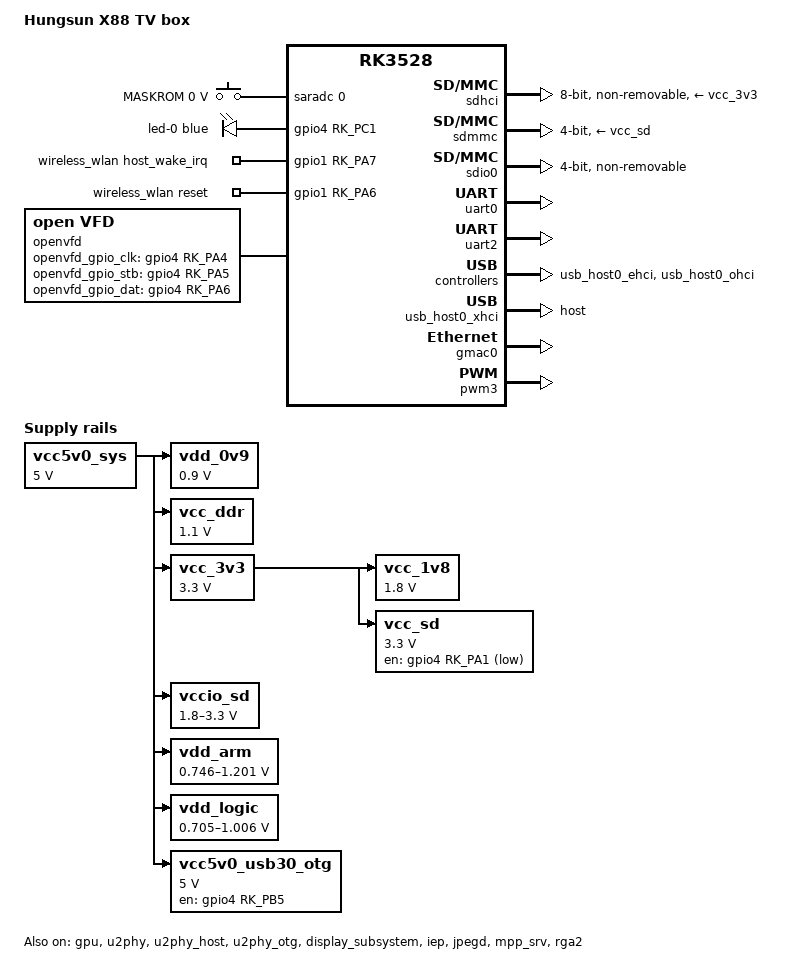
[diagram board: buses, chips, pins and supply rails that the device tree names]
// SPDX-License-Identifier: (GPL-2.0+ OR MIT)

/dts-v1/;

#include <dt-bindings/input/input.h>
#include <dt-bindings/leds/common.h>
#include <dt-bindings/pwm/pwm.h>
#include "rk3528.dtsi"

#include "rk3528-x88pro.dtsi"

/ {
	model = "Hungsun X88 TV box";
	compatible = "hungsun,x882a", "rockchip,rk3528";

	aliases {
		ethernet0 = &gmac0;
		mmc0 = &sdmmc;
		mmc1 = &sdhci;
		mmc2 = &sdio0;
		serial0 = &uart0;
	};

	chosen {
		// bootargs = "earlycon=uart8250,mmio32,0xff9f0000 console=ttyS0 driver_async_probe=dwmmc_rockchip,rockchip-drm drm_kms_helper.fbdev_emulation=0";
		stdout-path = "serial0:1500000n8";
	};

	adc-keys {
		compatible = "adc-keys";
		io-channels = <&saradc 0>;
		io-channel-names = "buttons";
		keyup-threshold-microvolt = <1800000>;
		poll-interval = <100>;

		button-maskrom {
			label = "MASKROM";
			linux,code = <KEY_SETUP>;
			press-threshold-microvolt = <0>;
		};
	};

	leds: leds {
		compatible = "gpio-leds";
		pinctrl-names = "default";
		pinctrl-0 = <&state_led_b>;

		led-0 {
			color = <LED_COLOR_ID_BLUE>;
			default-state = "on";
			function = LED_FUNCTION_HEARTBEAT;
			gpios = <&gpio4 RK_PC1 GPIO_ACTIVE_HIGH>;   // 145 pwr-green
			linux,default-trigger = "heartbeat";
		};
	};

	vdd_0v9: regulator-0v9-vdd {
		compatible = "regulator-fixed";
		regulator-name = "vdd_0v9";
		regulator-always-on;
		regulator-boot-on;
		regulator-min-microvolt = <900000>;
		regulator-max-microvolt = <900000>;
		vin-supply = <&vcc5v0_sys>;
	};

	vcc_ddr: regulator-1v1-vcc-ddr {
		compatible = "regulator-fixed";
		regulator-name = "vcc_ddr";
		regulator-always-on;
		regulator-boot-on;
		regulator-min-microvolt = <1100000>;
		regulator-max-microvolt = <1100000>;
		vin-supply = <&vcc5v0_sys>;
	};

	vcc_1v8: regulator-1v8-vcc {
		compatible = "regulator-fixed";
		regulator-name = "vcc_1v8";
		regulator-always-on;
		regulator-boot-on;
		regulator-min-microvolt = <1800000>;
		regulator-max-microvolt = <1800000>;
		vin-supply = <&vcc_3v3>;
	};

	vcc_3v3: regulator-3v3-vcc {
		compatible = "regulator-fixed";
		regulator-name = "vcc_3v3";
		regulator-always-on;
		regulator-boot-on;
		regulator-min-microvolt = <3300000>;
		regulator-max-microvolt = <3300000>;
		vin-supply = <&vcc5v0_sys>;
	};

	vcc5v0_sys: regulator-5v0-vcc-sys {
		compatible = "regulator-fixed";
		regulator-name = "vcc5v0_sys";
		regulator-always-on;
		regulator-boot-on;
		regulator-min-microvolt = <5000000>;
		regulator-max-microvolt = <5000000>;
	};

	vcc_sd: vcc-sd {
		compatible = "regulator-fixed";
		regulator-boot-on;
		gpio = <&gpio4 RK_PA1 GPIO_ACTIVE_LOW>;
		regulator-name = "vcc_sd";
		regulator-min-microvolt = <3300000>;
		regulator-max-microvolt = <3300000>;
		vin-supply = <&vcc_3v3>;
	};

	vccio_sd: regulator-vccio-sd {
		compatible = "regulator-gpio";
		gpios = <&gpio4 RK_PB6 GPIO_ACTIVE_HIGH>; // 142 vccio_sd
		pinctrl-names = "default";
		pinctrl-0 = <&sdmmc_pwren_h>;
		regulator-name = "vccio_sd";
		regulator-min-microvolt = <1800000>;  // vccio_sd=L
		regulator-max-microvolt = <3300000>;  // vccio_sd=H
		states = <1800000 0x0>, <3300000 0x1>;
		vin-supply = <&vcc5v0_sys>;
	};

	vdd_arm: regulator-vdd-arm {
		compatible = "pwm-regulator";
		pwms = <&pwm1 0 5000 PWM_POLARITY_INVERTED>;
		pwm-supply = <&vcc5v0_sys>;
		regulator-name = "vdd_arm";
		regulator-always-on;
		regulator-boot-on;
		regulator-min-microvolt = <746000>;
		regulator-max-microvolt = <1201000>;
		regulator-settling-time-up-us = <250>;
	};

	vdd_logic: regulator-vdd-logic {
		compatible = "pwm-regulator";
		pwms = <&pwm2 0 5000 PWM_POLARITY_INVERTED>;
		pwm-supply = <&vcc5v0_sys>;
		regulator-name = "vdd_logic";
		regulator-always-on;
		regulator-boot-on;
		regulator-min-microvolt = <705000>;
		regulator-max-microvolt = <1006000>;
		regulator-settling-time-up-us = <250>;
	};

	vcc5v0_usb30_otg: regulator-5v0-vcc-usb30-otg {
		compatible = "regulator-fixed";
		enable-active-high;
		regulator-boot-on;
		regulator-always-on;
		gpios = <&gpio4 RK_PB5 GPIO_ACTIVE_HIGH>;
		pinctrl-names = "default";
		pinctrl-0 = <&usb_host_en>;
		regulator-name = "vcc5v0_usb30_otg";
		regulator-min-microvolt = <5000000>;
		regulator-max-microvolt = <5000000>;
		vin-supply = <&vcc5v0_sys>;
	};

	hdmi_sound: hdmi-sound {
		status = "disabled";        // **
		compatible = "simple-audio-card";
		simple-audio-card,format = "i2s";
		simple-audio-card,mclk-fs = <128>;
		simple-audio-card,name = "rockchip-hdmi0";
		simple-audio-card,cpu {
			sound-dai = <&sai3>;
		};
		simple-audio-card,codec {
			sound-dai = <&hdmi>;
		};
	};

	acodec_sound: acodec-sound {
		compatible = "simple-audio-card";
		simple-audio-card,name = "rk3528-acodec";
		simple-audio-card,format = "i2s";
		simple-audio-card,mclk-fs = <256>;
		status = "disabled";        // **
		simple-audio-card,cpu {
			sound-dai = <&sai2>;
		};
		simple-audio-card,codec {
			sound-dai = <&acodec>;
		};
	};

	sdio_pwrseq: sdio-pwrseq {
		compatible = "mmc-pwrseq-simple";
		pinctrl-names = "default";
		pinctrl-0 = <&wifi_enable_h>, <&clkm1_32k_out>;
		post-power-on-delay-ms = <200>;
		// reset-gpios = <&gpio1 RK_PA6 GPIO_ACTIVE_LOW>;
	};

	wireless_wlan: wireless-wlan {
		compatible = "wlan-platdata";
		// rockchip,grf = <&grf>;
		/* wifi_chip_type = "AIC8801";  [00];	 AIC880, SV6160 */
		pinctrl-names = "default";
		pinctrl-0 = <&wifi_wake_host_h>;
		WIFI,host_wake_irq = <&gpio1 RK_PA7 GPIO_ACTIVE_HIGH>;    //GPIO_ACTIVE_HIGH 0 <0xa6 0x07 0x00>;
		WIFI,reset_gpio = <&gpio1 RK_PA6 GPIO_ACTIVE_HIGH>;  //GPIO_ACTIVE_HIGH 0 <0xa6 0x06 0x00>;
		status = "okay";
	};

	seekwcn_boot {					// v1.4 only
		compatible = "seekwave,sv6160";
		dma_type = <0x01>;    /*1:ADMA,2:SDMA*/
		skw_iram_path = "/usr/lib/firmware/skw/SWT6621_IRAM_SDIO.bin";
        skw_dram_path = "/usr/lib/firmware/skw/SWT6621_DRAM_SDIO.bin";
		bt_antenna = <0>;   /* no BT_antenna setting */
        // seekwave_nv_name = "SEEKWAVE_NV_SWT6652.bin";
		gpio_host_wake = <38>;
		gpio_chip_wake = <48>; 
		gpio_chip_en =	  <49>; 
        //pinctrl-names = "default";
		status = "okay";
	};

	vendor-storage {
		compatible = "rockchip,vendor_storage";
		status = "okay";
	};


/*
	rfkill {
		compatible = "rfkill-gpio";
		label = "rfkill-wlan";
		pinctrl-names = "default";
		pinctrl-0 = <&wifi_reg_on_h>;
		radio-type = "wlan";
		shutdown-gpios = <&gpio1 RK_PA6 GPIO_ACTIVE_HIGH>;    // 38 rkwifi_wlan_reset 
	};
*/

	openvfd {
		compatible = "open,vfd";
		dev_name = "openvfd";
		openvfd_gpio_clk = <&gpio4 RK_PA4 GPIO_ACTIVE_HIGH>;    //i2s1-mclk
		openvfd_gpio_stb = <&gpio4 RK_PA5 GPIO_ACTIVE_HIGH>;   //  i2s1-sclk
		openvfd_gpio_dat = <&gpio4 RK_PA6 GPIO_ACTIVE_HIGH>;   // i2s1-lrck
		openvfd_chars = [04 00 01 02 03];
		openvfd_dot_bits = [00 01 02 03 04 05 06];
		openvfd_display_type = <0x03 0x00 0x00 0x00>;
		status = "okay";
	};
};

&cpu0 {
	cpu-supply = <&vdd_arm>;
};

&cpu1 {
	cpu-supply = <&vdd_arm>;
};

&cpu2 {
	cpu-supply = <&vdd_arm>;
};

&cpu3 {
	cpu-supply = <&vdd_arm>;
};

&gpu {
	mali-supply = <&vdd_logic>;
	status = "okay";
};

&pinctrl {
	leds {
		state_led_b: state-led-b {
			rockchip,pins = <4 RK_PC1 RK_FUNC_GPIO &pcfg_pull_none>;   // 145 pwr-green
		};
	};

	usb {
		usb_host_en: usb-host-en {
			rockchip,pins = <4 RK_PB4 RK_FUNC_GPIO &pcfg_pull_none>;  //140 vcc5v0-host-en
		};
	};

	sdmmc {
		sdmmc_pwren_h: sdmmc-pwren-h {
			rockchip,pins = <4 RK_PB6 RK_FUNC_GPIO &pcfg_pull_none>;  //142 vccio_sd
		};
	};

	bluetooth {
/*
		bt_wake_host_h: bt-wake-host-h {
			rockchip,pins = <1 RK_PC0 RK_FUNC_GPIO &pcfg_pull_down>; //48 bt_default_wake  = i2s0m1-sdo
		};

		bt_reset_host_h: bt-reset-host-h {
			rockchip,pins = <1 RK_PC1 RK_FUNC_GPIO &pcfg_pull_down>; //49 bt_default_reset  = spi1-csn0
		};

		host_wake_bt_h: host-wake-bt-h {
			rockchip,pins = <1 RK_PC2 RK_FUNC_GPIO &pcfg_pull_none>;  //50 bt_default_wake_host
		};
*/
		uart2m1_gpios: uart2m1-gpios {
			rockchip,pins = <1 RK_PB2 RK_FUNC_GPIO &pcfg_pull_none>;    //42 bt_default_rts uart2m1-rtsn
		};
	};

	wifi {
		wifi_enable_h: wifi-enable-h {
			rockchip,pins = <1 RK_PA6 RK_FUNC_GPIO &pcfg_pull_none>;  // 38 rkwifi_wlan_reset
		};

		wifi_wake_host_h: wifi-wake-host-h {
			rockchip,pins = <1 RK_PA7 RK_FUNC_GPIO &pcfg_pull_down>;  //39 wifi-host-wake-irq
		};
	};

	ir-receiver {
		pwm3_ir: pwm3-ir {
			rockchip,pins = <4 RK_PB7 RK_FUNC_GPIO &pcfg_pull_none>;   //143 IR
		};
	};

};  //pinctrl

&saradc {
	vref-supply = <&vcc_1v8>;
	status = "okay";
};

&sdhci {
	bus-width = <8>;
	cap-mmc-highspeed;
	mmc-hs200-1_8v;
	no-sd;
	no-sdio;
	non-removable;
	max-frequency = <150000000>;
	vmmc-supply = <&vcc_3v3>;
	vqmmc-supply = <&vcc_1v8>;
	// supports-emmc;
	fixed-emmc-driver-type = <0x04>;
	status = "okay";
};

&sdmmc {
	bus-width = <4>;
	cap-mmc-highspeed;
	cap-sd-highspeed;
	disable-wp;
	max-frequency = <150000000>;   // V1.0: 200000000
	pinctrl-names = "default";
	pinctrl-0 = <&sdmmc_clk &sdmmc_cmd &sdmmc_det &sdmmc_bus4>;
	rockchip,default-sample-phase = <90>;
	supports-sd;
	sd-uhs-sdr12;
	sd-uhs-sdr25;
	sd-uhs-sdr50;
	sd-uhs-sdr104;
	vmmc-supply = <&vcc_sd>;
	vqmmc-supply = <&vccio_sd>;
	status = "okay";
};

&sdio0 {
	max-frequency = <150000000>;
	no-sd;
	no-mmc;
	supports-sdio;
	bus-width = <4>;
	disable-wp;
	cap-sd-highspeed;
	cap-sdio-irq;
	keep-power-in-suspend;
	non-removable;
	mmc-pwrseq = <&sdio_pwrseq>;
	pinctrl-names = "default";
	pinctrl-0 = <&sdio0_bus4 &sdio0_cmd &sdio0_clk>;
	/delete-property/ rockchip,use-v2-tuning;
	sd-uhs-sdr104;
	status = "okay";
};

&uart0 {
	pinctrl-names = "default";
	pinctrl-0 = <&uart0m0_xfer>;
	status = "okay";
};

&uart2 {
	dma-names = "tx", "rx";
	pinctrl-names = "default";
	pinctrl-0 = <&uart2m1_xfer>, <&uart2m1_ctsn>, <&uart2m1_rtsn>;
	uart-has-rtscts;
	status = "okay";

	bluetooth {
		compatible = "bluetooth-platdata";
		uart_rts_gpios = <&gpio1 RK_PB2 GPIO_ACTIVE_LOW>;
		pinctrl-names = "default", "rts_gpio";
		pinctrl-0 = <&uart2m1_rtsn>;
		pinctrl-1 = <&uart2m1_gpios>;
		//  BT,wake_gpio     = <&gpio1 RK_PC0 GPIO_ACTIVE_HIGH>;
		BT,reset_gpio    = <&gpio1 RK_PC1 GPIO_ACTIVE_HIGH>; 		//49 bt_default_reset <0xa6 0x11 0x00>
		BT,wake_host_irq = <&gpio1 RK_PC2 GPIO_ACTIVE_HIGH>;			//50 bt_default_wake_host <0xa6 0x12 0x00>
		status = "okay";
	};

};



&u2phy {
	status = "okay";
};

&u2phy_host {
	phy-supply = <&vcc5v0_usb30_otg>;
	status = "okay";
};

&u2phy_otg {
	phy-supply = <&vcc5v0_usb30_otg>;
	status = "okay";
};

&usb_host0_ehci {
	status = "okay";
};

&usb_host0_ohci {
	status = "okay";
};

&usb_host0_xhci {
	dr_mode = "host";
	maximum-speed = "high-speed";
	status = "okay";
};

&gmac0 {
	tx_delay = <0x30>;
	rx_delay = <0x3f>;
	clock_in_out = "input";
	// nvmem-cells = <&macphy_bgs>;
	// nvmem-cell-names = "bgs";
	status = "okay";
};

&pwm3 {
	// compatible = "rockchip,remotectl-pwm";
	compatible = "rockchip,remotectl-pwm-v4";
	pinctrl-names = "default";
	pinctrl-0 = <&pwm3m0_pins>;
	interrupts = <GIC_SPI 53 IRQ_TYPE_LEVEL_HIGH GIC_SPI 54 IRQ_TYPE_LEVEL_HIGH>;
	remote_pwm_id = <3>;
	handle_cpu_id = <1>;
	remote_support_psci = <0>;
	wakeup-source;
	status = "okay";
	ir_key5 {
		rockchip,usercode = <0xf708>;
		rockchip,key_table = <0xf5 0x71 0xfc 0x8d 0xf4 0x74 0x8c 0xb7 0x8b 0xb8 0x8a 0xb9 0x89 0xba 0xfa 0xbb 0xbd 0x66 0xed 0x67 0xea 0x69 0xe1 0xe8 0xeb 0x6a 0xbe 0x9e 0xec 0x6c 0xe8 0x8b 0xf1 0x73 0xef 0x68 0xe3 0x72 0xee 0x6d 0x8f 0x184 0x8e 0x80>;
	};

	ir_key6 {
		rockchip,usercode = <0xfe01>;
		rockchip,key_table = <0xec 0xe8 0xe6 0x9e 0xe9 0x67 0xe5 0x6c 0xae 0x69 0xaf 0x6a 0xee 0x66 0xe7 0x73 0xef 0x72 0xbf 0x74 0xbe 0x71 0xb3 0x8b 0xff 0x184 0xb1 0x02 0xf2 0x03 0xf3 0x04 0xb5 0x05 0xf6 0x06 0xf7 0x07 0xb9 0x08 0xfa 0x09 0xfb 0x0a 0xfe 0x0b 0xbb 0xbd 0xaa 0xa8 0xa5 0xa4 0xad 0x80 0xab 0xd0 0xbd 0x0e 0xbc 0x8d 0xf0 0xb8>;
	};

	ir_key12 {
		rockchip,usercode = <0x7f80>;
		rockchip,key_table = <0xec 0xe8 0xd8 0x9e 0xc7 0x67 0xbf 0x6c 0xc8 0x69 0xc6 0x6a 0x8c 0x66 0x78 0x73 0x76 0x72 0x7e 0x74 0xed 0x74 0x7c 0x8b 0xb7 0x184>;
	};

	ir_key13 {
		rockchip,usercode = <0x4040>;
		rockchip,key_table = <0xe5 0x66 0xbd 0x9e 0xba 0x8b 0xf2 0xe8 0xf4 0x67 0xf1 0x6c 0xef 0x69 0xee 0x6a 0xe3 0x72 0xea 0x73 0xe8 0x72 0xe7 0x73 0xbc 0x71 0xb2 0x74 0x4d 0x74 0xb8 0x184 0xbb 0x184 0xac 0xb7 0xa4 0xb8 0xa8 0xb9 0xab 0xba 0xe0 0x7b 0xe1 0x7a 0xfe 0x02 0xfd 0x03 0xfc 0x04 0xfb 0x05 0xfa 0x06 0xf9 0x07 0xf8 0x08 0xf7 0x09 0xf6 0x0a 0xff 0x0b 0xf0 0x39 0xf3 0x0e>;
	};

	ir_key14 {
		rockchip,usercode = <0x707>;
		rockchip,key_table = <0xfd 0x74 0xc1 0xa4 0xec 0x184 0x9f 0x67 0x9a 0x69 0x97 0xe8 0x9d 0x6a 0x9e 0x6c 0xd2 0x66 0xe5 0x8b 0xed 0xa8 0xef 0xd0 0x77 0xe7 0xf8 0x73 0xf4 0x72 0xa3 0x0e 0xf0 0x71>;
	};

	ir_key15 {
		rockchip,usercode = <0xdf00>;
		rockchip,key_table = <0xe3 0x74 0xb4 0x3f 0xfe 0x43 0xa2 0x73 0xb0 0x42 0xa0 0x44 0xa3 0x72 0xbd 0x66 0xf5 0x9e 0xe5 0x67 0xb8 0x69 0xf9 0xe8 0xf8 0x6a 0xb7 0x6c 0xfc 0x184 0xe7 0x8b 0xab 0x02 0xe9 0x03 0xea 0x04 0xaf 0x05 0xed 0x06 0xee 0x07 0xb3 0x08 0xf1 0x09 0xf2 0x0a 0xbe 0xe3 0xf3 0x0b 0xef 0x0e 0x1c 0x74 0x1a 0x67 0x47 0x69 0x06 0xe8 0x07 0x6a 0x48 0x6c 0x42 0x66 0x18 0x8b 0x5c 0x72 0x5d 0x73>;
	};

	ir_key16 {
		rockchip,usercode = <0x807f>;
		rockchip,key_table = <0x7e 0x74>;
	};

	ir_key17 {
		rockchip,usercode = <0xfd02>;
		rockchip,key_table = <0xf2 0xe8 0xec 0x9e 0xf6 0x67 0xee 0x6c 0xf5 0x69 0xf1 0x6a 0xef 0x66 0xf8 0x73 0xf9 0x72 0xf7 0x74 0xf4 0x71 0xf3 0x8b 0xbf 0x184 0xeb 0x02 0xea 0x03 0xe9 0x04 0xe7 0x05 0xe6 0x06 0xe5 0x07 0xe3 0x08 0xe2 0x09 0xe1 0x0a 0xbe 0x0b 0xbd 0x0e 0xe4 0x43 0xd4 0x44 0xf0 0x42 0xfb 0x7a 0xfa 0x7b 0xff 0xb7 0xfe 0xb8 0xfd 0xb9 0xfc 0xba>;
	};

	ir_key18 {
		rockchip,usercode = <0xef10>;
		rockchip,key_table = <0xa2 0x74 0xe8 0x73 0xec 0x72 0xa6 0x8d 0xa5 0x184 0xff 0x9e 0xba 0x67 0xf8 0x69 0xbe 0xe8 0xfe 0x6a 0xaa 0x6c 0xb9 0x66 0xfa 0x8b 0xe5 0xa8 0xa7 0xa4 0xe2 0xd0 0xa0 0x4d 0xb0 0x0b 0xa1 0x0e 0xaf 0x02 0xad 0x03 0xef 0x04 0xb3 0x05 0xb5 0x06 0xee 0x07 0xf0 0x08 0xb1 0x09 0xf2 0x0a>;
	};

	ir_key20 {
		rockchip,usercode = <0xf709>;
		rockchip,key_table = <0xf5 0x74 0xdd 0xba 0xff 0x67 0xfe 0x6c 0xfd 0x6a 0xfc 0x69 0xe0 0xe8 0xf3 0x66 0xb5 0x184 0xe3 0x9e 0x79 0xb7 0x8d 0xb9 0xa7 0x73 0xa2 0x72>;
	};
};


/*
&mdio0 {
	nvmem-cells = <&macphy_txlevel>;
	nvmem-cell-names = "txlevel";
	rockchip,thermal-zone = "soc-thermal";
};	

&rmii0_phy {
	phy-is-integrated;
	pinctrl-names = "default";
	nvmem-cells = <&macphy_txlevel>;
	nvmem-cell-names = "txlevel";
	rockchip,thermal-zone = "soc-thermal";
};

*/

&gpu_bus {
	bus-supply = <&vdd_logic>;
	status = "disabled";
};

&display_subsystem {
	status = "okay";
};

&hdmi {
	status = "disabled";        // **
};

&hdmi_in_vp0 {
	status = "disabled";        // **
};

&hdmiphy {
	status = "disabled";        // **
};
/*
&tve {
	status = "disabled";        // **
};
*/
&tve_in_vp1 {
	status = "disabled";
};

&iep {
	status = "okay";
};

&iep_mmu {
	status = "okay";
};

&jpegd {
	status = "okay";
};

&jpegd_mmu {
	status = "okay";
};

&mpp_srv {
	status = "okay";
};

&rga2 {
	status = "okay";
};

&rga2_mmu {
	status = "okay";
};

&rkvdec {
	status = "disabled";
};

&rkvdec_mmu {
	status = "disabled";        // **
};

&rkvenc {
	status = "disabled";
};

&rkvenc_mmu {
	status = "disabled";        // **
};

&rkvtunnel {
	status = "disabled";
};

&rockchip_suspend {
	status = "okay";
	rockchip,sleep-debug-en = <1>;
	rockchip,virtual-poweroff = <1>;
	rockchip,sleep-mode-config = <
		(0
		| RKPM_SLP_ARMPD
		)
	>;
	rockchip,wakeup-config = <
		(0
		| RKPM_CPU0_WKUP_EN
		| RKPM_GPIO_WKUP_EN
		)
	>;
	rockchip,pwm-regulator-config = <
		(0
		| RKPM_PWM0_M0_REGULATOR_EN
		| RKPM_PWM1_M0_REGULATOR_EN
		)
	>;
};

&vdpp {
	status = "disabled";        // **
};

&vdpu {
	status = "disabled";        // **
};

&vdpu_mmu {
	status = "disabled";        // **
};

&vop {
	status = "disabled";        // **
};

&vop_mmu {
	status = "disabled";        // **
};

&tsadc {
	status = "disabled";        // **
};

&saradc {
	status = "disabled";        // **
	vref-supply = <&vcc_1v8>;
};

&acodec {
	pa-ctl-gpios = <&gpio0 RK_PA0 GPIO_ACTIVE_HIGH>;
	status = "disabled";        // **
};

&avsd {
	status = "disabled";        // **
};

&sai2 {
	status = "disabled";        // **
};

&sai3 {
	status = "disabled";        // **
};


